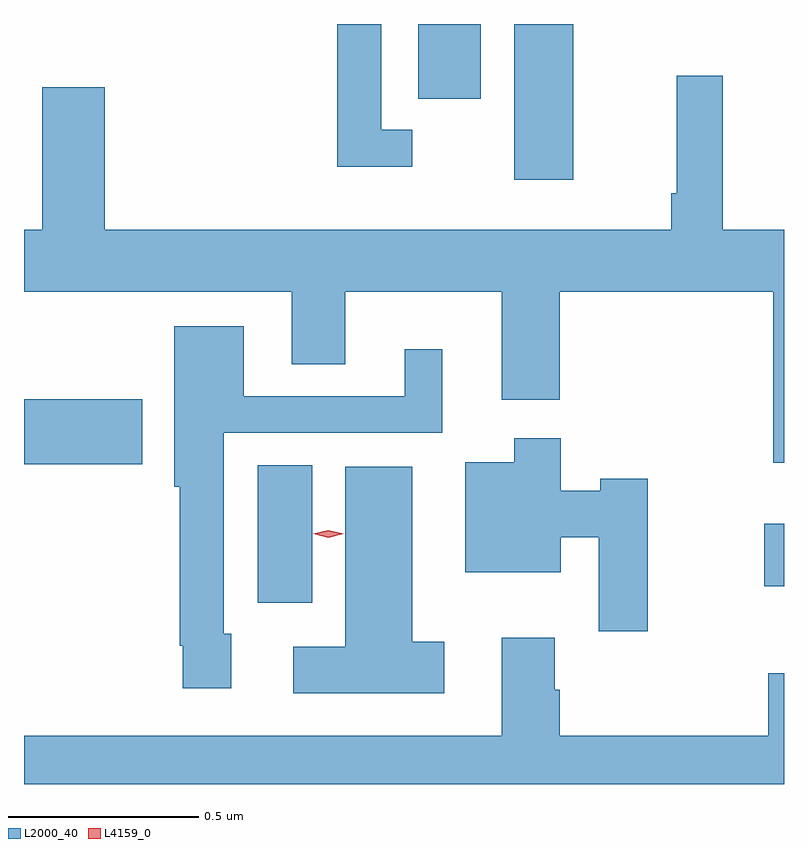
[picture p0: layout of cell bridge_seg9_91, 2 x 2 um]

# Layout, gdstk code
import gdstk
lib = gdstk.Library(unit=1e-6, precision=1e-09)
def R(c, l, rs):  # rectangles x0, y0, x1, y1
    for r in rs: c.add(gdstk.rectangle(r[:2], r[2:], *l))
def P(c, l, *ps):  # polygons
    for p in ps: c.add(gdstk.Polygon(p, *l))
L2000_40 = (2000, 40)
L4159_0 = (4159, 0)

bridge_seg9_91 = lib.new_cell('bridge_seg9_91')
R(bridge_seg9_91, L2000_40, [(788.951,1240.89,789.094,1241.252), (790.284,1240.934,790.336,1241.098), (788.336,1241.255,788.647,1241.425), (789.626,1242.003,789.781,1242.413), (789.374,1242.216,789.538,1242.413)])
P(bridge_seg9_91, L2000_40, [(789.358,1242.135),(789.276,1242.135),(789.276,1242.413),(789.16,1242.413),(789.16,1242.038),(789.358,1242.038)],
  [(790.336,1241.872),(790.175,1241.872),(790.175,1242.277),(790.054,1242.277),(790.054,1241.968),(790.039,1241.968),(790.039,1241.872),(788.548,1241.872),(788.548,1242.247),(788.384,1242.247),(788.384,1241.872),(788.336,1241.872),(788.336,1241.708),(789.041,1241.708),(789.041,1241.518),(789.181,1241.518),(789.181,1241.708),(789.593,1241.708),(789.593,1241.424),(789.746,1241.424),(789.746,1241.708),(790.308,1241.708),(790.308,1241.259),(790.336,1241.259)],
  [(788.881,1240.809),(788.862,1240.809),(788.862,1241.337),(789.436,1241.337),(789.436,1241.557),(789.338,1241.557),(789.338,1241.433),(788.914,1241.433),(788.914,1241.617),(788.732,1241.617),(788.732,1241.195),(788.746,1241.195),(788.746,1240.777),(788.754,1240.777),(788.754,1240.665),(788.881,1240.665)],
  [(789.978,1241.216),(789.852,1241.216),(789.852,1241.185),(789.748,1241.185),(789.748,1241.323),(789.626,1241.323),(789.626,1241.26),(789.497,1241.26),(789.497,1240.97),(789.748,1240.97),(789.748,1241.063),(789.848,1241.063),(789.848,1240.815),(789.978,1240.815)],
  [(789.442,1240.787),(789.358,1240.787),(789.358,1241.248),(789.182,1241.248),(789.182,1240.774),(789.045,1240.774),(789.045,1240.652),(789.442,1240.652)],
  [(790.336,1240.705),(790.295,1240.705),(790.295,1240.54),(789.746,1240.54),(789.746,1240.661),(789.733,1240.661),(789.733,1240.798),(789.593,1240.798),(789.593,1240.54),(788.336,1240.54),(788.336,1240.413),(790.336,1240.413)])
P(bridge_seg9_91, L4159_0, [(789.137,1241.061),(789.097,1241.071),(789.097,1241.071),(789.097,1241.072),(789.137,1241.081),(789.178,1241.072),(789.178,1241.071),(789.178,1241.071)])

lib.write_gds('bridge_seg9_91.gds')
